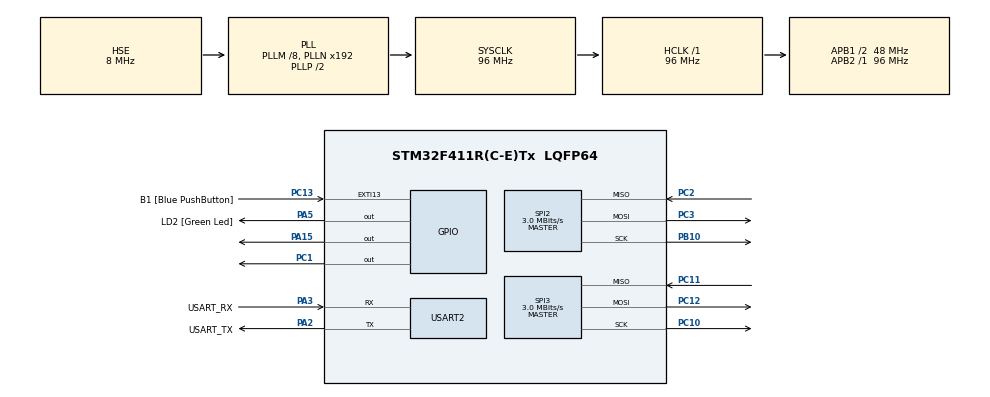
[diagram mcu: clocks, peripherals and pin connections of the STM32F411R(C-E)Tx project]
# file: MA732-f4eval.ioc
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Mcu.Family=STM32F4
Mcu.Name=STM32F411R(C-E)Tx
Mcu.Package=LQFP64
NVIC.PriorityGroup=NVIC_PRIORITYGROUP_0
PA13.GPIO_Label=TMS
PA13.Mode=Trace_Asynchronous_SW
PA13.Signal=SYS_JTMS-SWDIO
PA14.GPIO_Label=TCK
PA14.Mode=Trace_Asynchronous_SW
PA14.Signal=SYS_JTCK-SWCLK
PA15.Signal=GPIO_Output
PA2.GPIO_Label=USART_TX
PA2.Mode=Asynchronous
PA2.Signal=USART2_TX
PA3.GPIO_Label=USART_RX
PA3.Mode=Asynchronous
PA3.Signal=USART2_RX
PA5.GPIO_Label=LD2 [Green Led]
PA5.Signal=GPIO_Output
PB10.Mode=Full_Duplex_Master
PB10.Signal=SPI2_SCK
PB3.GPIO_Label=SWO
PB3.Mode=Trace_Asynchronous_SW
PB3.Signal=SYS_JTDO-SWO
PC1.Signal=GPIO_Output
PC10.Mode=Full_Duplex_Master
PC10.Signal=SPI3_SCK
PC11.Mode=Full_Duplex_Master
PC11.Signal=SPI3_MISO
PC12.Mode=Full_Duplex_Master
PC12.Signal=SPI3_MOSI
PC13-ANTI_TAMP.GPIO_Label=B1 [Blue PushButton]
PC13-ANTI_TAMP.GPIO_ModeDefaultEXTI=GPIO_MODE_IT_FALLING
PC13-ANTI_TAMP.Signal=GPXTI13
PC14-OSC32_IN.Mode=LSE-External-Oscillator
PC14-OSC32_IN.Signal=RCC_OSC32_IN
PC15-OSC32_OUT.Mode=LSE-External-Oscillator
PC15-OSC32_OUT.Signal=RCC_OSC32_OUT
PC2.Mode=Full_Duplex_Master
PC2.Signal=SPI2_MISO
PC3.Mode=Full_Duplex_Master
PC3.Signal=SPI2_MOSI
PH0\ -\ OSC_IN.Mode=HSE-External-Clock-Source
PH0\ -\ OSC_IN.Signal=RCC_OSC_IN
PH1\ -\ OSC_OUT.Mode=HSE-External-Clock-Source
PH1\ -\ OSC_OUT.Signal=RCC_OSC_OUT
ProjectManager.HeapSize=0x200
ProjectManager.StackSize=0x400
ProjectManager.TargetToolchain=STM32CubeIDE
RCC.48MHZClocksFreq_Value=48000000
RCC.AHBFreq_Value=96000000
RCC.APB1CLKDivider=RCC_HCLK_DIV2
RCC.APB1Freq_Value=48000000
RCC.APB1TimFreq_Value=96000000
RCC.APB2Freq_Value=96000000
RCC.APB2TimFreq_Value=96000000
RCC.CortexFreq_Value=96000000
RCC.FLatency-AdvancedSettings=FLASH_LATENCY_3
RCC.HCLKFreq_Value=96000000
RCC.HSE_VALUE=8000000
RCC.HSI_VALUE=16000000
RCC.PLLM=8
RCC.PLLSourceVirtual=RCC_PLLSOURCE_HSE
RCC.SYSCLKFreq_VALUE=96000000
RCC.SYSCLKSource=RCC_SYSCLKSOURCE_PLLCLK
RCC.VCOOutputFreq_Value=192000000
SPI2.BaudRatePrescaler=SPI_BAUDRATEPRESCALER_16
SPI2.CLKPhase=SPI_PHASE_2EDGE
SPI2.CalculateBaudRate=3.0 MBits/s
SPI2.DataSize=SPI_DATASIZE_16BIT
SPI2.Direction=SPI_DIRECTION_2LINES
SPI2.Mode=SPI_MODE_MASTER
SPI2.VirtualType=VM_MASTER
SPI3.BaudRatePrescaler=SPI_BAUDRATEPRESCALER_16
SPI3.CLKPhase=SPI_PHASE_2EDGE
SPI3.CLKPolarity=SPI_POLARITY_HIGH
SPI3.CalculateBaudRate=3.0 MBits/s
SPI3.Direction=SPI_DIRECTION_2LINES
SPI3.Mode=SPI_MODE_MASTER
SPI3.VirtualType=VM_MASTER
USART2.VirtualMode=VM_ASYNC
board=NUCLEO-F411RE

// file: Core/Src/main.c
/* USER CODE BEGIN Header */
/**
  ******************************************************************************
  * @file           : main.c
  * @brief          : Main program body
  ******************************************************************************
  * @attention
  *
  * <h2><center>&copy; Copyright (c) 2024 STMicroelectronics.
  * All rights reserved.</center></h2>
  *
  * This software component is licensed by ST under BSD 3-Clause license,
  * the "License"; You may not use this file except in compliance with the
  * License. You may obtain a copy of the License at:
  *                        opensource.org/licenses/BSD-3-Clause
  *
  ******************************************************************************
  */
/* USER CODE END Header */
#include "main.h"

/* USER CODE BEGIN Includes */
#include <stdio.h>
#include "ics.h"
/* USER CODE END Includes */

SPI_HandleTypeDef hspi2;
SPI_HandleTypeDef hspi3;

UART_HandleTypeDef huart2;

void SystemClock_Config(void);
static void MX_GPIO_Init(void);
static void MX_USART2_UART_Init(void);
static void MX_SPI2_Init(void);
static void MX_SPI3_Init(void);

/* USER CODE BEGIN 0 */
struct servo_params sp;

void magenc_update();

int _write(int file, char *ptr, int len)
{
  int DataIdx;
  for(DataIdx=0; DataIdx<len; DataIdx++)
  {
    ITM_SendChar(*ptr++);
  }
  return len;
}

uint8_t calcevenparity(uint16_t value){
	uint8_t cnt = 0;
	uint8_t i;

	for (i = 0; i < 16; i++)
	{
		if (value & 0x1)
		{
			cnt++;
		}
		value >>= 1;
	}
	return cnt & 0x1;
}

void magenc_update(SPI_HandleTypeDef *hspi){
	uint8_t t_data[2];
	uint8_t val[2];
	uint16_t command;

	command = AS5048A_ANGLE | 0x4000;
	command |= ((uint16_t)calcevenparity(command)<<15);

	t_data[1] = command & 0xff;
	t_data[0] = (command >> 8) & 0xff;
	val[0] = 0;
	val[1] = 0;

	HAL_GPIO_WritePin(MAGENC_CS_PORT, MAGENC_CS_PIN, GPIO_PIN_RESET);
	//HAL_SPI_Transmit(hspi, (uint8_t *)&t_data, 2, 0xFFFF);
	HAL_SPI_Transmit(hspi, (uint8_t *)&t_data, 2, 100);
	while(HAL_SPI_GetState(hspi) != HAL_SPI_STATE_READY) {}
	HAL_GPIO_WritePin(MAGENC_CS_PORT, MAGENC_CS_PIN, GPIO_PIN_SET);

	HAL_GPIO_WritePin(MAGENC_CS_PORT, MAGENC_CS_PIN, GPIO_PIN_RESET);
	//HAL_SPI_Receive(hspi, (uint8_t *)&val, 2, 0xFFFF);
	HAL_SPI_Receive(hspi, (uint8_t *)&val, 2, 100);
	while(HAL_SPI_GetState(hspi) != HAL_SPI_STATE_READY) {}
	HAL_GPIO_WritePin(MAGENC_CS_PORT, MAGENC_CS_PIN, GPIO_PIN_SET);

	if(!((val[0] == 0x00 && val[1] == 0x00) || (val[0] == 0xff && val[1] == 0xff))){
		sp.magenc_noten_count = 0;
		sp.magenc_position = (( ( val[1] & 0xFF ) << 8 ) | ( val[0] & 0xFF )) & ~0xC000;
		sp.magenc_position_raw [0] = val[0];
		sp.magenc_position_raw [1] = val[1];
	}else{
		sp.magenc_noten_count += 1;
	}
}

uint16_t readMagAlphaAngle(SPI_HandleTypeDef *hspi)
{
  uint32_t timeout=10;
  uint8_t txData[2];
  uint8_t rxData[2];
  txData[1]=0;
  txData[0]=0;
  uint16_t angleSensor;
  HAL_GPIO_WritePin(SPI3_CS_GPIO_Port, SPI3_CS_Pin, GPIO_PIN_RESET);
  HAL_SPI_TransmitReceive(hspi, txData, rxData, 2, timeout);
  HAL_GPIO_WritePin(SPI3_CS_GPIO_Port, SPI3_CS_Pin, GPIO_PIN_SET);
  angleSensor=rxData[0]<<8 | rxData[1];
  return angleSensor;
}

uint8_t readMagAlphaRegister(SPI_HandleTypeDef *hspi, uint8_t address)
{
  uint32_t timeout=10;
  uint32_t delay=1;//ms
  uint8_t txData1[2];
  uint8_t rxData1[2];
  uint8_t txData2[2];
  uint8_t rxData2[2];
  txData1[0]=(0x2<<5)|(0x1F&address);
  txData1[1]=0x00;
  txData2[0]=0x00;
  txData2[1]=0x00;
  uint8_t registerReadbackValue;
  HAL_GPIO_WritePin(SPI3_CS_GPIO_Port, SPI3_CS_Pin, GPIO_PIN_RESET);
  HAL_SPI_TransmitReceive(hspi, txData1, rxData1, 2, timeout);
  HAL_GPIO_WritePin(SPI3_CS_GPIO_Port, SPI3_CS_Pin, GPIO_PIN_SET);
  HAL_Delay(delay);
  HAL_GPIO_WritePin(SPI3_CS_GPIO_Port, SPI3_CS_Pin, GPIO_PIN_RESET);
  HAL_SPI_TransmitReceive(hspi, txData2, rxData2, 2, timeout);
  HAL_GPIO_WritePin(SPI3_CS_GPIO_Port, SPI3_CS_Pin, GPIO_PIN_SET);
  registerReadbackValue=rxData2[0];
  return registerReadbackValue;
}

uint8_t readMagAlphaRegister2(SPI_HandleTypeDef *hspi, uint8_t address)
{
  uint32_t timeout=10;
  uint32_t delay=1;//ms
  uint8_t txData1[2];
  uint8_t rxData1[2];
  //uint8_t txData2[2];
  //uint8_t rxData2[2];
  txData1[0]=(0x2<<5)|(0x1F&address);
  txData1[1]=0x00;
  //txData2[0]=0x00;
  //txData2[1]=0x00;
  uint16_t registerReadbackValue;
  HAL_GPIO_WritePin(SPI3_CS_GPIO_Port, SPI3_CS_Pin, GPIO_PIN_RESET);
  HAL_SPI_TransmitReceive(hspi, txData1, rxData1, 1, timeout);
  HAL_GPIO_WritePin(SPI3_CS_GPIO_Port, SPI3_CS_Pin, GPIO_PIN_SET);
  //HAL_Delay(delay);
  //HAL_GPIO_WritePin(SPI3_CS_GPIO_Port, SPI3_CS_Pin, GPIO_PIN_RESET);
  //HAL_SPI_TransmitReceive(hspi, txData2, rxData2, 2, timeout);
  //HAL_GPIO_WritePin(SPI3_CS_GPIO_Port, SPI3_CS_Pin, GPIO_PIN_SET);
  //registerReadbackValue=rxData2[0];
  //registerReadbackValue = rxData1[0]<<8 | rxData1[1];
  registerReadbackValue = rxData1[0];
  return registerReadbackValue;
}

uint8_t writeMagAlphaRegister(SPI_HandleTypeDef *hspi, uint8_t address, uint8_t value)
{
  uint32_t timeout=10;
  uint32_t delay=20;//ms
  uint8_t txData1[2];
  uint8_t rxData1[2];
  uint8_t txData2[2];
  uint8_t rxData2[2];
  txData1[0]=(0x4<<5)|(0x1F&address);
  txData1[1]=value;
  txData2[0]=0x00;
  txData2[1]=0x00;
  uint8_t registerReadbackValue;
  HAL_GPIO_WritePin(SPI3_CS_GPIO_Port, SPI3_CS_Pin, GPIO_PIN_RESET);
  HAL_SPI_TransmitReceive(hspi, txData1, rxData1, 2, timeout);
  HAL_GPIO_WritePin(SPI3_CS_GPIO_Port, SPI3_CS_Pin, GPIO_PIN_SET);
  HAL_Delay(delay);
  HAL_GPIO_WritePin(SPI3_CS_GPIO_Port, SPI3_CS_Pin, GPIO_PIN_RESET);
  HAL_SPI_TransmitReceive(hspi, txData2, rxData2, 2, timeout);
  HAL_GPIO_WritePin(SPI3_CS_GPIO_Port, SPI3_CS_Pin, GPIO_PIN_SET);
  registerReadbackValue=rxData2[0];
  return registerReadbackValue;
}

//uint16_t readMagAlphaAngleWithParityBitCheck(SPI_HandleTypeDef *hspi, _Bool* error)
uint16_t readMagAlphaAngleWithParityBitCheck(SPI_HandleTypeDef *hspi)
{
  uint32_t timeout=10;
  uint8_t highStateCount = 0;
  uint8_t parity;
  uint8_t txData[3];
  uint8_t rxData[3];
  txData[2]=0;
  txData[1]=0;
  txData[0]=0;
  uint16_t angleSensor;
  HAL_GPIO_WritePin(SPI3_CS_GPIO_Port, SPI3_CS_Pin, GPIO_PIN_RESET);
  HAL_SPI_TransmitReceive(hspi, txData, rxData, 3, timeout);
  HAL_GPIO_WritePin(SPI3_CS_GPIO_Port, SPI3_CS_Pin, GPIO_PIN_SET);
  angleSensor=rxData[0]<<8 | rxData[1];
  parity = ((rxData[2] & 0x80) >> 7);
  //Count the number of 1 in the angle binary value
  for (int i=0;i<16;++i)
  {
    if ((angleSensor & (1 << i)) != 0)
    {
        highStateCount++;
    }
  }
  //check if parity bit is correct
  /*
  if ((highStateCount % 2) == 0) //number of bits set to 1 in the angle is even
  {
    if (parity == 0)
    {
      *error = false;
    }
    else
    {
      *error = true;
    }
  }
  else //number of bits set to 1 in the angle is odd
  {
    if (parity == 1)
    {
      *error = false;
    }
    else
    {
      *error = true;
    }
  }
  */
  return angleSensor;
}
/* USER CODE END 0 */

int main(void)
{

  /* MCU Configuration--------------------------------------------------------*/

  /* Reset of all peripherals, Initializes the Flash interface and the Systick. */
  HAL_Init();

  /* Configure the system clock */
  SystemClock_Config();

  /* Initialize all configured peripherals */
  MX_GPIO_Init();
  MX_USART2_UART_Init();
  MX_SPI2_Init();
  MX_SPI3_Init();
  /* USER CODE BEGIN 2 */
  sp.magenc_noten_count = 0;
  sp.magenc_position_MA732 = 0;
  sp.MA732_BCT = 0;
  /* USER CODE END 2 */

  /* Infinite loop */
  /* USER CODE BEGIN WHILE */
  while (1)
  {
	  if(sp.magenc_noten_count < MAGENC_NOT_EN_COUNT){
		  magenc_update(&hspi2);
	  }

	  sp.magenc_position_MA732 = readMagAlphaAngle(&hspi3);
	  //HAL_Delay(10);
	  //sp.MA732_BCT = readMagAlphaRegister(&hspi3, 0x2);

	  printf("hoge:%d\r\n", 100);
	  printf("AS5048A:%d\r\n", sp.magenc_position);
	  printf("MA732:%d\r\n", sp.magenc_position_MA732);
	  printf("MA732_BCT:%d\r\n", sp.MA732_BCT);
	  HAL_GPIO_TogglePin(LD2_GPIO_Port,LD2_Pin);
	  HAL_Delay(100);
    /* USER CODE END WHILE */

  }
}

void SystemClock_Config(void)
{
  RCC_OscInitTypeDef RCC_OscInitStruct = {0};
  RCC_ClkInitTypeDef RCC_ClkInitStruct = {0};

  /** Configure the main internal regulator output voltage
  */
  __HAL_RCC_PWR_CLK_ENABLE();
  __HAL_PWR_VOLTAGESCALING_CONFIG(PWR_REGULATOR_VOLTAGE_SCALE1);
  /** Initializes the RCC Oscillators according to the specified parameters
  * in the RCC_OscInitTypeDef structure.
  */
  RCC_OscInitStruct.OscillatorType = RCC_OSCILLATORTYPE_HSE;
  RCC_OscInitStruct.HSEState = RCC_HSE_BYPASS;
  RCC_OscInitStruct.PLL.PLLState = RCC_PLL_ON;
  RCC_OscInitStruct.PLL.PLLSource = RCC_PLLSOURCE_HSE;
  RCC_OscInitStruct.PLL.PLLM = 8;
  RCC_OscInitStruct.PLL.PLLN = 192;
  RCC_OscInitStruct.PLL.PLLP = RCC_PLLP_DIV2;
  RCC_OscInitStruct.PLL.PLLQ = 4;
  if (HAL_RCC_OscConfig(&RCC_OscInitStruct) != HAL_OK)
  {
    Error_Handler();
  }
  /** Initializes the CPU, AHB and APB buses clocks
  */
  RCC_ClkInitStruct.ClockType = RCC_CLOCKTYPE_HCLK|RCC_CLOCKTYPE_SYSCLK
                              |RCC_CLOCKTYPE_PCLK1|RCC_CLOCKTYPE_PCLK2;
  RCC_ClkInitStruct.SYSCLKSource = RCC_SYSCLKSOURCE_PLLCLK;
  RCC_ClkInitStruct.AHBCLKDivider = RCC_SYSCLK_DIV1;
  RCC_ClkInitStruct.APB1CLKDivider = RCC_HCLK_DIV2;
  RCC_ClkInitStruct.APB2CLKDivider = RCC_HCLK_DIV1;

  if (HAL_RCC_ClockConfig(&RCC_ClkInitStruct, FLASH_LATENCY_3) != HAL_OK)
  {
    Error_Handler();
  }
}

static void MX_SPI2_Init(void)
{

  /* SPI2 parameter configuration*/
  hspi2.Instance = SPI2;
  hspi2.Init.Mode = SPI_MODE_MASTER;
  hspi2.Init.Direction = SPI_DIRECTION_2LINES;
  hspi2.Init.DataSize = SPI_DATASIZE_16BIT;
  hspi2.Init.CLKPolarity = SPI_POLARITY_LOW;
  hspi2.Init.CLKPhase = SPI_PHASE_2EDGE;
  hspi2.Init.NSS = SPI_NSS_SOFT;
  hspi2.Init.BaudRatePrescaler = SPI_BAUDRATEPRESCALER_16;
  hspi2.Init.FirstBit = SPI_FIRSTBIT_MSB;
  hspi2.Init.TIMode = SPI_TIMODE_DISABLE;
  hspi2.Init.CRCCalculation = SPI_CRCCALCULATION_DISABLE;
  hspi2.Init.CRCPolynomial = 10;
  if (HAL_SPI_Init(&hspi2) != HAL_OK)
  {
    Error_Handler();
  }

}

static void MX_SPI3_Init(void)
{

  /* SPI3 parameter configuration*/
  hspi3.Instance = SPI3;
  hspi3.Init.Mode = SPI_MODE_MASTER;
  hspi3.Init.Direction = SPI_DIRECTION_2LINES;
  hspi3.Init.DataSize = SPI_DATASIZE_8BIT;
  hspi3.Init.CLKPolarity = SPI_POLARITY_HIGH;
  hspi3.Init.CLKPhase = SPI_PHASE_2EDGE;
  hspi3.Init.NSS = SPI_NSS_SOFT;
  hspi3.Init.BaudRatePrescaler = SPI_BAUDRATEPRESCALER_16;
  hspi3.Init.FirstBit = SPI_FIRSTBIT_MSB;
  hspi3.Init.TIMode = SPI_TIMODE_DISABLE;
  hspi3.Init.CRCCalculation = SPI_CRCCALCULATION_DISABLE;
  hspi3.Init.CRCPolynomial = 10;
  if (HAL_SPI_Init(&hspi3) != HAL_OK)
  {
    Error_Handler();
  }

}

static void MX_USART2_UART_Init(void)
{

  huart2.Instance = USART2;
  huart2.Init.BaudRate = 115200;
  huart2.Init.WordLength = UART_WORDLENGTH_8B;
  huart2.Init.StopBits = UART_STOPBITS_1;
  huart2.Init.Parity = UART_PARITY_NONE;
  huart2.Init.Mode = UART_MODE_TX_RX;
  huart2.Init.HwFlowCtl = UART_HWCONTROL_NONE;
  huart2.Init.OverSampling = UART_OVERSAMPLING_16;
  if (HAL_UART_Init(&huart2) != HAL_OK)
  {
    Error_Handler();
  }

}

static void MX_GPIO_Init(void)
{
  GPIO_InitTypeDef GPIO_InitStruct = {0};

  /* GPIO Ports Clock Enable */
  __HAL_RCC_GPIOC_CLK_ENABLE();
  __HAL_RCC_GPIOH_CLK_ENABLE();
  __HAL_RCC_GPIOA_CLK_ENABLE();
  __HAL_RCC_GPIOB_CLK_ENABLE();

  /*Configure GPIO pin Output Level */
  HAL_GPIO_WritePin(GPIOC, GPIO_PIN_1, GPIO_PIN_RESET);

  /*Configure GPIO pin Output Level */
  HAL_GPIO_WritePin(GPIOA, LD2_Pin|GPIO_PIN_15, GPIO_PIN_RESET);

  /*Configure GPIO pin : B1_Pin */
  GPIO_InitStruct.Pin = B1_Pin;
  GPIO_InitStruct.Mode = GPIO_MODE_IT_FALLING;
  GPIO_InitStruct.Pull = GPIO_NOPULL;
  HAL_GPIO_Init(B1_GPIO_Port, &GPIO_InitStruct);

  /*Configure GPIO pin : PC1 */
  GPIO_InitStruct.Pin = GPIO_PIN_1;
  GPIO_InitStruct.Mode = GPIO_MODE_OUTPUT_PP;
  GPIO_InitStruct.Pull = GPIO_NOPULL;
  GPIO_InitStruct.Speed = GPIO_SPEED_FREQ_LOW;
  HAL_GPIO_Init(GPIOC, &GPIO_InitStruct);

  /*Configure GPIO pins : LD2_Pin PA15 */
  GPIO_InitStruct.Pin = LD2_Pin|GPIO_PIN_15;
  GPIO_InitStruct.Mode = GPIO_MODE_OUTPUT_PP;
  GPIO_InitStruct.Pull = GPIO_NOPULL;
  GPIO_InitStruct.Speed = GPIO_SPEED_FREQ_LOW;
  HAL_GPIO_Init(GPIOA, &GPIO_InitStruct);

}

void Error_Handler(void)
{
  __disable_irq();
  while (1)
  {
  }
}

/************************ (C) COPYRIGHT STMicroelectronics *****END OF FILE****/
